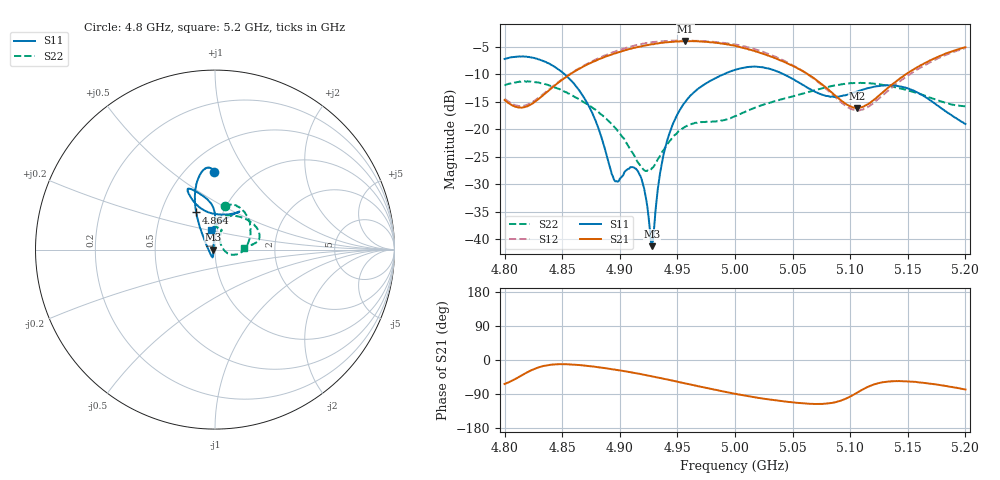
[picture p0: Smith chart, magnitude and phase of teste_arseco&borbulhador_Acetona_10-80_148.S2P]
! Network Analyzer HP8722D
! Hewlett-Packard
! Data name: Linha & Wilkinson
! Saver's name: Rodrigo Anjos
! Comments: Teste da utilização de aquisição
! continua pelo VNA HP8722D
! Time and date: 25/4/2025 16:30
!  Frequency  S11  S21  S12  S22
# HZ  S  MA R 50
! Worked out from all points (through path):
!   401 points, 4.8 GHz to 5.2 GHz, reference 50 ohm
!   highest |S21| = -3.98 dB at 4.957 GHz (marker M1); lowest = -16.1 dB at 5.106 GHz (marker M2)
!   lowest |S11| = -41.2 dB at 4.928 GHz (marker M3), VSWR 1.02, Z = 49.1 + j0.0416 ohm
!   |S11| at or under -10 dB: 4.852 GHz to 4.99 GHz (138.3 MHz wide, 2.81 % of centre); 5.042 GHz to end of sweep
!   |S22| runs from -27.6 to -11.3 dB; largest |S21 - S12| = 1.2
!   S11 on the Smith chart (normalised r, x): 4.8 GHz: 0.68, +0.73; 4.864 GHz: 0.75, +0.33; 5.2 GHz: 0.94, +0.21
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4.8e9  0.4349 90.6  0.1843 -63.2  0.1893 70.3  0.2491 76.6
4.82e9  0.453 96.9  0.1622 -31.8  0.1678 99.1  0.2732 61.0
4.843e9  0.3719 106.3  0.2474 -11.8  0.2504 118.9  0.2424 36.2
4.864e9  0.2318 116.8  0.351 -12.9  0.3543 120.9  0.189 11.6
4.867e9  0.2086 118.6  0.3651 -13.9  0.3691 120.5  0.1815 8.2
4.88e9  0.1119 129.4  0.4241 -18.4  0.4337 118.0  0.147 -5.6
4.895e9  0.03478 -173.8  0.4873 -25.1  0.5028 113.6  0.1059 -15.6
4.91e9  0.04536 -109.0  0.5398 -32.6  0.5651 106.9  0.06333 -13.5
4.917e9  0.03904 -105.8  0.5629 -36.4  0.5898 103.2  0.04811 -0.4
4.921e9  0.02944 -110.3  0.5741 -39.0  0.5995 101.0  0.04265 13.3
4.928e9  0.008696 177.2  0.5926 -43.2  0.6179 96.9  0.04459 41.7
4.93e9  0.01349 127.7  0.5955 -44.4  0.6201 95.4  0.04699 48.8
4.934e9  0.03407 101.8  0.6045 -46.9  0.6284 93.0  0.05545 58.7
4.943e9  0.09126 91.4  0.6197 -52.7  0.6361 87.3  0.07743 68.9
4.957e9  0.1788 89.6  0.6327 -61.8  0.6378 78.3  0.1059 70.9
5e9  0.3463 109.0  0.572 -89.2  0.5905 50.5  0.1316 88.2
5.03e9  0.3545 115.1  0.4621 -104.2  0.4784 33.6  0.1738 85.2
5.067e9  0.2259 105.3  0.2983 -115.7  0.2952 23.6  0.2221 56.9
5.106e9  0.2199 64.7  0.1565 -86.2  0.1483 56.9  0.2627 24.5
5.134e9  0.251 57.3  0.243 -56.6  0.2289 88.8  0.2472 12.2
5.17e9  0.1822 71.0  0.4248 -62.5  0.4086 84.2  0.1931 6.8
5.2e9  0.1118 100.9  0.5555 -77.8  0.5461 69.8  0.1616 3.6
